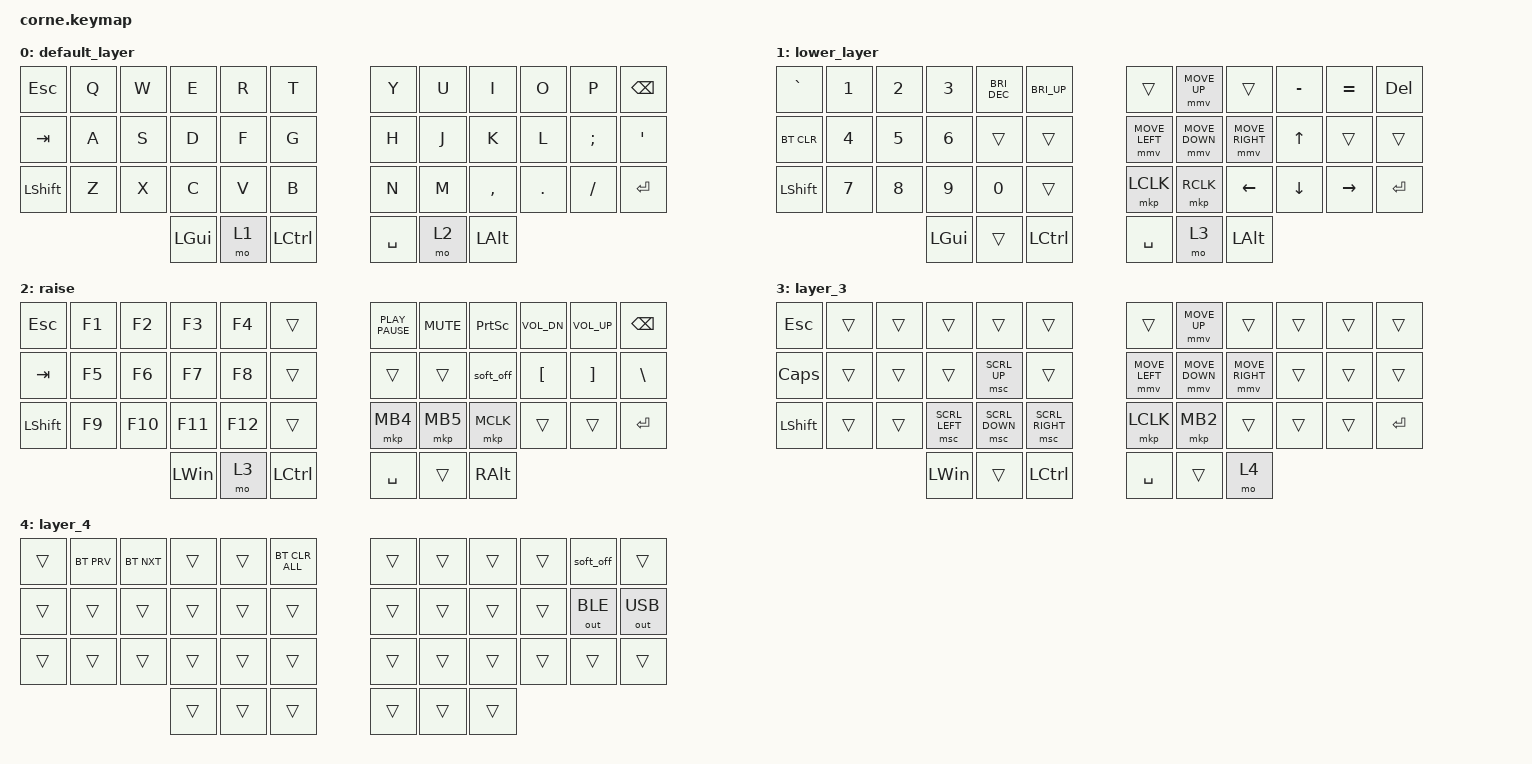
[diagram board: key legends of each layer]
/*
 * Copyright (c) 2020 The ZMK Contributors
 *
 * SPDX-License-Identifier: MIT
 */

#define ZMK_POINTING_DEFAULT_MOVE_VAL 1250  // 600
#define ZMK_POINTING_DEFAULT_SCRL_VAL 15    // 10

#include <behaviors.dtsi>
#include <dt-bindings/zmk/bt.h>
#include <dt-bindings/zmk/keys.h>
#include <dt-bindings/zmk/outputs.h>
#include <dt-bindings/zmk/pointing.h>

/ {
    combos {
        compatible = "zmk,combos";

        both_layer {
            bindings = <&mo 3>;
            key-positions = <37 40>;
        };
    };

    keymap {
        compatible = "zmk,keymap";

        default_layer {
            // -----------------------------------------------------------------------------------------
            // |  TAB |  Q  |  W  |  E  |  R  |  T  |   |  Y  |  U   |  I  |  O  |  P  | BSPC |
            // | CTRL |  A  |  S  |  D  |  F  |  G  |   |  H  |  J   |  K  |  L  |  ;  |  '   |
            // | SHFT |  Z  |  X  |  C  |  V  |  B  |   |  N  |  M   |  ,  |  .  |  /  | ESC  |
            //                    | GUI | LWR | SPC |   | ENT | RSE  | ALT |

            bindings = <
&kp ESC    &kp Q  &kp W  &kp E     &kp R  &kp T        &kp Y      &kp U  &kp I      &kp O    &kp P     &kp BSPC
&kp TAB    &kp A  &kp S  &kp D     &kp F  &kp G        &kp H      &kp J  &kp K      &kp L    &kp SEMI  &kp SQT
&kp LSHFT  &kp Z  &kp X  &kp C     &kp V  &kp B        &kp N      &kp M  &kp COMMA  &kp DOT  &kp FSLH  &kp ENTER
                         &kp LGUI  &mo 1  &kp LCTRL    &kp SPACE  &mo 2  &kp LALT
            >;
        };

        lower_layer {
            // -----------------------------------------------------------------------------------------
            // |  TAB |  1  |  2  |  3  |  4  |  5  |   |  6  |  7  |  8  |  9  |  0  | BSPC |
            // | BTCLR| BT1 | BT2 | BT3 | BT4 | BT5 |   | LFT | DWN |  UP | RGT |     |      |
            // | SHFT |     |     |     |     |     |   |     |     |     |     |     |      |
            //                    | GUI |     | SPC |   | ENT |     | ALT |

            bindings = <
&kp GRAVE   &kp N1        &kp N2  &kp N3        &kp C_BRIGHTNESS_DEC  &kp C_BRI_UP    &trans          &mmv MOVE_UP    &trans           &kp MINUS     &kp EQUAL  &kp DEL
&bt BT_CLR  &kp NUMBER_4  &kp N5  &kp NUMBER_6  &trans                &trans          &mmv MOVE_LEFT  &mmv MOVE_DOWN  &mmv MOVE_RIGHT  &kp UP_ARROW  &trans     &trans
&kp LSHFT   &kp N7        &kp N8  &kp N9        &kp N0                &trans          &mkp LCLK       &mkp RCLK       &kp LEFT_ARROW   &kp DOWN      &kp RIGHT  &kp ENTER
                                  &kp LGUI      &trans                &kp LCTRL       &kp SPACE       &mo 3           &kp LALT
            >;
        };

        raise {
            bindings = <
&kp ESC         &kp F1  &kp F2   &kp F3        &kp F4   &trans       &kp K_PLAY_PAUSE  &kp K_MUTE  &kp PRINTSCREEN  &kp C_VOL_DN      &kp C_VOLUME_UP    &kp BACKSPACE
&kp TAB         &kp F5  &kp F6   &kp F7        &kp F8   &trans       &trans            &trans      &soft_off        &kp LEFT_BRACKET  &kp RIGHT_BRACKET  &kp BACKSLASH
&kp LEFT_SHIFT  &kp F9  &kp F10  &kp F11       &kp F12  &trans       &mkp MB4          &mkp MB5    &mkp MCLK        &trans            &trans             &kp ENTER
                                 &kp LEFT_WIN  &mo 3    &kp LCTRL    &kp SPACE         &trans      &kp RIGHT_ALT
            >;
        };

        layer_3 {
            bindings = <
&kp ESC         &trans  &trans  &trans          &trans          &trans             &trans          &mmv MOVE_UP    &trans           &trans  &trans  &trans
&kp CAPS        &trans  &trans  &trans          &msc SCRL_UP    &trans             &mmv MOVE_LEFT  &mmv MOVE_DOWN  &mmv MOVE_RIGHT  &trans  &trans  &trans
&kp LEFT_SHIFT  &trans  &trans  &msc SCRL_LEFT  &msc SCRL_DOWN  &msc SCRL_RIGHT    &mkp LCLK       &mkp MB2        &trans           &trans  &trans  &kp ENTER
                                &kp LEFT_WIN    &trans          &kp LCTRL          &kp SPACE       &trans          &mo 4
            >;
        };

        layer_4 {
            bindings = <
&trans  &bt BT_PRV  &bt BT_NXT  &trans  &trans  &bt BT_CLR_ALL    &trans  &trans  &trans  &trans  &soft_off     &trans
&trans  &trans      &trans      &trans  &trans  &trans            &trans  &trans  &trans  &trans  &out OUT_BLE  &out OUT_USB
&trans  &trans      &trans      &trans  &trans  &trans            &trans  &trans  &trans  &trans  &trans        &trans
                                &trans  &trans  &trans            &trans  &trans  &trans
            >;
        };
    };
};
